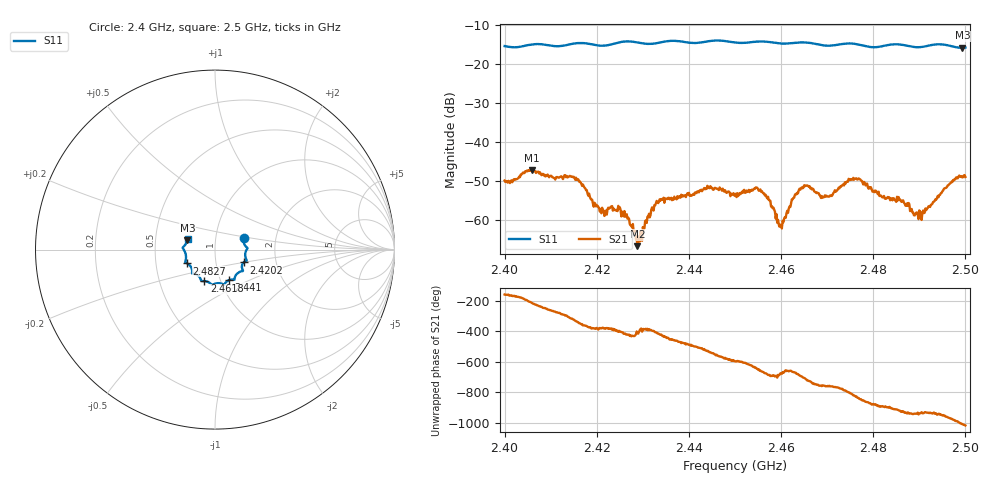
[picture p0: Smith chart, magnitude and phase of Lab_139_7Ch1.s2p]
# Hz S RI R 50
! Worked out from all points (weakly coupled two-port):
!   601 points, 2.4 GHz to 2.5 GHz, reference 50 ohm
!   highest |S21| = -47.18 dB at 2.406 GHz (marker M1); lowest = -66.8 dB at 2.4288 GHz (marker M2)
!   lowest |S11| = -15.8 dB at 2.4993 GHz (marker M3), VSWR 1.39, Z = 36.5 + j3.8 ohm
!   |S11| at or under -10 dB: start of sweep to end of sweep
!   S12 and S22 are empty: the file has one direction only
!   S11 on the Smith chart (normalised r, x): 2.4 GHz: 1.36, +0.18; 2.4202 GHz: 1.36, -0.20; 2.441 GHz: 1.10, -0.39; 2.4618 GHz: 0.84, -0.30; 2.4827 GHz: 0.72, -0.11; 2.5 GHz: 0.73, +0.09
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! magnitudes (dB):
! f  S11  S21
! 2.4 GHz  -15.3  -49.9
! 2.406 GHz  -14.9  -47.2
! 2.4167 GHz  -14.6  -50.8
! 2.4202 GHz  -15.2  -56.4
! 2.4252 GHz  -14.3  -57.5
! 2.4288 GHz  -14.4  -66.8
! 2.4333 GHz  -14.5  -55.7
! 2.441 GHz  -14.6  -53.3
! 2.45 GHz  -14.4  -53.8
! 2.455 GHz  -14.2  -52.1
! 2.4572 GHz  -14.3  -54.1
! 2.4597 GHz  -14.7  -61.8
! 2.4618 GHz  -14.6  -56.6
! 2.4645 GHz  -14.4  -51.7
! 2.4667 GHz  -14.6  -52.2
! 2.4705 GHz  -15.3  -54.0
! 2.4767 GHz  -14.9  -49.6
! 2.4827 GHz  -15.2  -54.4
! 2.4833 GHz  -15.0  -54.4
! 2.4902 GHz  -15.6  -58.0
! 2.4993 GHz  -15.8  -49.1
! 2.5 GHz  -15.7  -49.0
